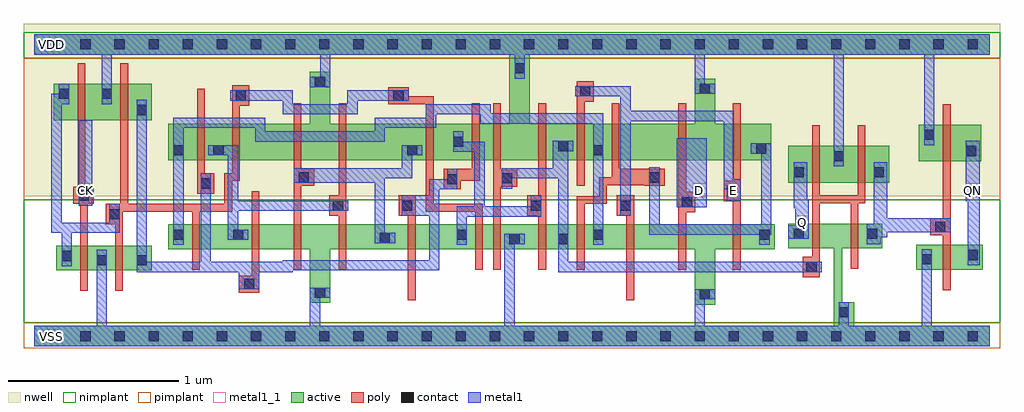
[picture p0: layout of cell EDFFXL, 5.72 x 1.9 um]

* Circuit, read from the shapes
.subckt EDFFXL CK D E Q QN VDD VSS
M1 VSS CK n1 VSS nfet w=0.145u l=0.045u
M2 n2 n1 VSS VSS nfet w=0.145u l=0.045u
M3 n3 n1 n4 VSS nfet w=0.145u l=0.045u
M4 n5 n2 n3 VSS nfet w=0.145u l=0.045u
M5 VSS n6 n5 VSS nfet w=0.145u l=0.045u
M6 n6 n3 VSS VSS nfet w=0.145u l=0.045u
M7 n7 n2 n6 VSS nfet w=0.145u l=0.045u
M8 n8 n1 n7 VSS nfet w=0.145u l=0.045u
M9 VSS n9 n8 VSS nfet w=0.145u l=0.045u
M10 n9 n7 VSS VSS nfet w=0.145u l=0.045u
M11 n4 n10 n9 VSS nfet w=0.145u l=0.045u
M12 n11 E n4 VSS nfet w=0.145u l=0.045u
M13 VSS D n11 VSS nfet w=0.145u l=0.045u
M14 n10 E VSS VSS nfet w=0.145u l=0.045u
M15 VSS n9 Q VSS nfet w=0.145u l=0.045u
M16 n12 n9 VSS VSS nfet w=0.145u l=0.045u
M17 QN n12 VSS VSS nfet w=0.145u l=0.045u
M18 VDD CK n1 VDD pfet w=0.215u l=0.045u
M19 n2 n1 VDD VDD pfet w=0.215u l=0.045u
M20 n3 n2 n4 VDD pfet w=0.215u l=0.045u
M21 n13 n1 n3 VDD pfet w=0.215u l=0.045u
M22 VDD n6 n13 VDD pfet w=0.215u l=0.045u
M23 n6 n3 VDD VDD pfet w=0.215u l=0.045u
M24 n7 n1 n6 VDD pfet w=0.215u l=0.045u
M25 n14 n2 n7 VDD pfet w=0.215u l=0.045u
M26 VDD n9 n14 VDD pfet w=0.215u l=0.045u
M27 n9 n7 VDD VDD pfet w=0.215u l=0.045u
M28 n4 E n9 VDD pfet w=0.215u l=0.045u
M29 n15 n10 n4 VDD pfet w=0.215u l=0.045u
M30 VDD D n15 VDD pfet w=0.215u l=0.045u
M31 n10 E VDD VDD pfet w=0.215u l=0.045u
M32 VDD n9 Q VDD pfet w=0.215u l=0.045u
M33 n12 n9 VDD VDD pfet w=0.215u l=0.045u
M34 QN n12 VDD VDD pfet w=0.215u l=0.045u
.ends

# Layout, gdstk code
import gdstk
lib = gdstk.Library(unit=1e-6, precision=5e-10)
def R(c, l, rs):  # rectangles x0, y0, x1, y1
    for r in rs: c.add(gdstk.rectangle(r[:2], r[2:], *l))
def A(c, l, x, y, w, h, nx, ny, dx, dy):  # array of equal rectangles
    R(c, l, [(x+i*dx, y+j*dy, x+i*dx+w, y+j*dy+h) for i in range(nx) for j in range(ny)])
def P(c, l, *ps):  # polygons
    for p in ps: c.add(gdstk.Polygon(p, *l))
active = (1, 0)
nwell = (2, 0)
poly = (3, 0)
nimplant = (4, 0)
pimplant = (5, 0)
contact = (6, 0)
metal1 = (7, 0)
metal1_1 = (7, 1)

edffxl = lib.new_cell('EDFFXL')
R(edffxl, active, [(0.13,0.385,0.69,0.53), (5.17,0.39,5.56,0.535), (4.42,0.9,5.01,1.115), (5.185,1.025,5.55,1.24), (0.115,1.265,0.69,1.48)])
P(edffxl, active, [(0,1.77),(5.6,1.77),(5.6,1.65),(2.905,1.65),(2.905,1.245),(3.87,1.245),(3.87,1.51),(3.99,1.51),(3.99,1.245),(4.32,1.245),(4.32,1.03),(0.785,1.03),(0.785,1.245),(1.615,1.245),(1.615,1.55),(1.735,1.55),(1.735,1.245),(2.785,1.245),(2.785,1.65),(0,1.65)],
  [(4.42,0.66),(4.97,0.66),(4.97,0.515),(4.735,0.515),(4.735,0.2),(4.805,0.2),(4.805,0.06),(5.6,0.06),(5.6,-0.06),(0,-0.06),(0,0.06),(4.685,0.06),(4.685,0.515),(4.42,0.515)],
  [(0.785,0.655),(4.34,0.655),(4.34,0.51),(3.99,0.51),(3.99,0.185),(3.87,0.185),(3.87,0.51),(1.735,0.51),(1.735,0.195),(1.615,0.195),(1.615,0.51),(0.785,0.51)])
R(edffxl, nwell, [(-0.06,0.82,5.66,1.83)])
P(edffxl, poly, [(0.505,1.6),(0.55,1.6),(0.55,0.775),(1.115,0.775),(1.115,0.955),(1.16,0.955),(1.16,1.47),(1.26,1.47),(1.26,1.35),(1.205,1.35),(1.205,0.91),(1.16,0.91),(1.16,0.73),(0.97,0.73),(0.97,0.39),(0.925,0.39),(0.925,0.73),(0.52,0.73),(0.52,0.265),(0.475,0.265),(0.475,0.655),(0.42,0.655),(0.42,0.775),(0.505,0.775)],
  [(0.255,1.6),(0.3,1.6),(0.3,0.875),(0.35,0.875),(0.35,0.775),(0.315,0.775),(0.315,0.265),(0.27,0.265),(0.27,0.775),(0.23,0.775),(0.23,0.875),(0.255,0.875)],
  [(2.075,1.46),(2.195,1.46),(2.195,1.405),(2.34,1.405),(2.34,0.775),(2.63,0.775),(2.63,0.39),(2.585,0.39),(2.585,0.73),(2.295,0.73),(2.295,1.36),(2.075,1.36)],
  [(0.955,1.45),(1,1.45),(1,0.955),(1.055,0.955),(1.055,0.835),(0.955,0.835)],
  [(1.52,1.365),(1.565,1.365),(1.565,0.98),(1.64,0.98),(1.64,0.88),(1.565,0.88),(1.565,0.39),(1.52,0.39)],
  [(1.785,1.365),(1.83,1.365),(1.83,0.39),(1.785,0.39),(1.785,0.705),(1.73,0.705),(1.73,0.825),(1.785,0.825)],
  [(2.565,1.365),(2.61,1.365),(2.61,0.91),(2.5,0.91),(2.5,0.86),(2.4,0.86),(2.4,0.98),(2.565,0.98)],
  [(2.69,1.365),(2.735,1.365),(2.735,0.975),(2.83,0.975),(2.83,0.875),(2.735,0.875),(2.735,0.39),(2.69,0.39)],
  [(3.18,1.495),(3.28,1.495),(3.28,1.375),(3.225,1.375),(3.225,0.88),(3.18,0.88)],
  [(5.325,1.36),(5.37,1.36),(5.37,0.27),(5.325,0.27),(5.325,0.59),(5.25,0.59),(5.25,0.69),(5.325,0.69)],
  [(2.955,1.365),(3,1.365),(3,0.39),(2.955,0.39),(2.955,0.705),(2.89,0.705),(2.89,0.825),(2.955,0.825)],
  [(3.385,1.365),(3.43,1.365),(3.43,0.98),(3.695,0.98),(3.695,0.88),(3.575,0.88),(3.575,0.885),(3.355,0.885),(3.355,0.775),(3.225,0.775),(3.225,0.39),(3.18,0.39),(3.18,0.82),(3.31,0.82),(3.31,0.93),(3.385,0.93)],
  [(3.775,1.365),(3.82,1.365),(3.82,0.845),(3.875,0.845),(3.875,0.725),(3.82,0.725),(3.82,0.39),(3.775,0.39)],
  [(4.095,1.365),(4.14,1.365),(4.14,0.39),(4.095,0.39),(4.095,0.79),(4.04,0.79),(4.04,0.91),(4.095,0.91)],
  [(4.56,1.235),(4.605,1.235),(4.605,0.825),(4.825,0.825),(4.825,1.235),(4.87,1.235),(4.87,0.78),(4.83,0.78),(4.83,0.395),(4.785,0.395),(4.785,0.78),(4.605,0.78),(4.605,0.345),(4.505,0.345),(4.505,0.465),(4.56,0.465)],
  [(2.135,0.825),(2.235,0.825),(2.235,0.21),(2.19,0.21),(2.19,0.705),(2.135,0.705)],
  [(3.415,0.825),(3.515,0.825),(3.515,0.21),(3.47,0.21),(3.47,0.705),(3.415,0.705)],
  [(1.275,0.85),(1.32,0.85),(1.32,0.255),(1.2,0.255),(1.2,0.355),(1.275,0.355)])
R(edffxl, nimplant, [(-0.06,0.08,5.66,0.8), (-0.06,1.63,5.66,1.78)])
R(edffxl, pimplant, [(-0.06,-0.07,5.66,0.08), (-0.06,0.8,5.66,1.63)])
A(edffxl, contact, 0.07, -0.03, 0.06, 0.06, 28, 2, 0.2, 1.71)
R(edffxl, contact, [(4.715,0.11,4.775,0.17), (3.9,0.215,3.96,0.275), (1.645,0.225,1.705,0.285), (1.23,0.275,1.29,0.335), (4.525,0.375,4.585,0.435), (0.365,0.415,0.425,0.475), (0.6,0.415,0.66,0.475), (5.2,0.42,5.26,0.48), (0.16,0.44,0.22,0.5), (5.47,0.445,5.53,0.505), (2.785,0.54,2.845,0.6), (3.07,0.54,3.13,0.6), (2.025,0.545,2.085,0.605), (0.815,0.565,0.875,0.625), (1.165,0.565,1.225,0.625), (2.475,0.565,2.535,0.625), (3.275,0.565,3.335,0.625), (4.25,0.565,4.31,0.625), (4.45,0.57,4.51,0.63), (4.88,0.57,4.94,0.63), (5.28,0.61,5.34,0.67), (0.44,0.685,0.5,0.745), (1.75,0.735,1.81,0.795), (2.155,0.735,2.215,0.795), (2.91,0.735,2.97,0.795), (3.435,0.735,3.495,0.795), (3.795,0.755,3.855,0.815), (0.26,0.795,0.32,0.855), (4.06,0.82,4.12,0.88), (0.975,0.865,1.035,0.925), (2.42,0.89,2.48,0.95), (2.74,0.895,2.8,0.955), (1.55,0.9,1.61,0.96), (3.605,0.9,3.665,0.96), (4.45,0.93,4.51,0.99), (4.92,0.93,4.98,0.99), (4.685,1.025,4.745,1.085), (5.46,1.055,5.52,1.115), (0.815,1.06,0.875,1.12), (1.05,1.06,1.11,1.12), (2.185,1.06,2.245,1.12), (3.275,1.06,3.335,1.12), (4.23,1.07,4.29,1.13), (3.07,1.085,3.13,1.145), (2.455,1.11,2.515,1.17), (5.215,1.15,5.275,1.21), (0.6,1.295,0.66,1.355), (1.18,1.38,1.24,1.44), (2.105,1.38,2.165,1.44), (0.145,1.39,0.205,1.45), (0.395,1.39,0.455,1.45), (3.2,1.405,3.26,1.465), (3.9,1.42,3.96,1.48), (1.645,1.46,1.705,1.52), (2.815,1.54,2.875,1.6)])
R(edffxl, metal1, [(3.765,0.755,3.94,1.16), (0.26,0.765,0.34,1.265)])
P(edffxl, metal1, [(0,1.77),(5.6,1.77),(5.6,1.65),(5.275,1.65),(5.275,1.12),(5.215,1.12),(5.215,1.65),(4.745,1.65),(4.745,0.995),(4.685,0.995),(4.685,1.65),(3.93,1.65),(3.93,1.48),(3.99,1.48),(3.99,1.42),(3.87,1.42),(3.87,1.65),(2.875,1.65),(2.875,1.51),(2.815,1.51),(2.815,1.65),(1.735,1.65),(1.735,1.46),(1.615,1.46),(1.615,1.52),(1.675,1.52),(1.675,1.65),(0.455,1.65),(0.455,1.36),(0.395,1.36),(0.395,1.65),(0,1.65)],
  [(0.145,1.48),(0.205,1.48),(0.205,1.36),(0.16,1.36),(0.16,0.665),(0.44,0.665),(0.44,0.775),(0.5,0.775),(0.5,0.605),(0.22,0.605),(0.22,0.41),(0.16,0.41),(0.16,0.605),(0.1,0.605),(0.1,1.42),(0.145,1.42)],
  [(1.15,1.44),(1.515,1.44),(1.515,1.36),(1.835,1.36),(1.835,1.44),(2.195,1.44),(2.195,1.38),(1.895,1.38),(1.895,1.3),(1.455,1.3),(1.455,1.38),(1.15,1.38)],
  [(2.295,1.36),(2.675,1.36),(2.675,1.305),(3.335,1.305),(3.335,0.535),(3.275,0.535),(3.275,1.245),(2.615,1.245),(2.615,1.3),(2.355,1.3),(2.355,1.22),(2.055,1.22),(2.055,1.14),(1.295,1.14),(1.295,1.22),(0.875,1.22),(0.875,0.535),(0.815,0.535),(0.815,1.28),(1.355,1.28),(1.355,1.2),(1.995,1.2),(1.995,1.28),(2.295,1.28)],
  [(0.6,1.385),(0.66,1.385),(0.66,0.435),(0.975,0.435),(0.975,0.955),(1.035,0.955),(1.035,0.435),(1.455,0.435),(1.455,0.445),(2.315,0.445),(2.315,0.705),(2.155,0.705),(2.155,0.825),(2.315,0.825),(2.315,0.92),(2.42,0.92),(2.42,0.98),(2.48,0.98),(2.48,0.86),(2.375,0.86),(2.375,0.385),(1.515,0.385),(1.515,0.375),(1.32,0.375),(1.32,0.275),(1.2,0.275),(1.2,0.375),(0.6,0.375)],
  [(2.755,0.6),(2.875,0.6),(2.875,0.54),(2.815,0.54),(2.815,0.06),(3.87,0.06),(3.87,0.275),(3.99,0.275),(3.99,0.215),(3.93,0.215),(3.93,0.06),(4.715,0.06),(4.715,0.2),(4.775,0.2),(4.775,0.06),(5.2,0.06),(5.2,0.51),(5.26,0.51),(5.26,0.06),(5.6,0.06),(5.6,-0.06),(0,-0.06),(0,0.06),(0.365,0.06),(0.365,0.505),(0.425,0.505),(0.425,0.06),(1.615,0.06),(1.615,0.285),(1.735,0.285),(1.735,0.225),(1.675,0.225),(1.675,0.06),(2.755,0.06)],
  [(1.02,1.12),(1.195,1.12),(1.195,0.795),(1.84,0.795),(1.84,0.735),(1.195,0.735),(1.195,0.625),(1.255,0.625),(1.255,0.565),(1.135,0.565),(1.135,1.06),(1.02,1.06)],
  [(3.17,1.465),(3.495,1.465),(3.495,1.32),(4.1,1.32),(4.1,0.92),(4.14,0.92),(4.14,0.79),(4.06,0.79),(4.06,0.86),(4.04,0.86),(4.04,1.26),(3.495,1.26),(3.495,0.705),(3.435,0.705),(3.435,1.405),(3.17,1.405)],
  [(2.455,1.2),(2.515,1.2),(2.515,1.14),(2.64,1.14),(2.64,0.76),(2.91,0.76),(2.91,0.825),(2.97,0.825),(2.97,0.7),(2.535,0.7),(2.535,0.535),(2.475,0.535),(2.475,0.76),(2.58,0.76),(2.58,1.08),(2.455,1.08)],
  [(2.155,1.12),(2.275,1.12),(2.275,1.06),(2.215,1.06),(2.215,0.925),(2.055,0.925),(2.055,0.605),(2.115,0.605),(2.115,0.545),(1.995,0.545),(1.995,0.9),(1.52,0.9),(1.52,0.985),(2.155,0.985)],
  [(3.04,1.145),(3.16,1.145),(3.16,1.085),(3.13,1.085),(3.13,0.435),(4.615,0.435),(4.615,0.375),(3.07,0.375),(3.07,0.925),(2.8,0.925),(2.8,0.865),(2.74,0.865),(2.74,0.985),(3.04,0.985)],
  [(5.46,1.145),(5.54,1.145),(5.54,0.415),(5.47,0.415),(5.47,0.79),(5.46,0.79)],
  [(4.2,1.13),(4.32,1.13),(4.32,0.595),(4.31,0.595),(4.31,0.535),(4.25,0.535),(4.25,0.595),(3.605,0.595),(3.605,0.99),(3.665,0.99),(3.665,0.655),(4.26,0.655),(4.26,1.07),(4.2,1.07)],
  [(4.45,1.02),(4.53,1.02),(4.53,0.8),(4.54,0.8),(4.54,0.57),(4.42,0.57),(4.42,0.65),(4.46,0.65),(4.46,0.75),(4.45,0.75)],
  [(4.92,1.02),(5,1.02),(5,0.69),(5.37,0.69),(5.37,0.61),(5,0.61),(5,0.58),(4.96,0.58),(4.96,0.54),(4.88,0.54),(4.88,0.66),(4.92,0.66)])
R(edffxl, metal1_1, [(0.06,-0.04,0.14,0.04), (4.46,0.625,4.54,0.705), (0.26,0.815,0.34,0.895), (3.86,0.815,3.94,0.895), (4.06,0.815,4.14,0.895), (5.46,0.815,5.54,0.895), (0.06,1.67,0.14,1.75)])
edffxl.add(gdstk.Label('QN', (5.5,0.855), layer=7, texttype=1))
edffxl.add(gdstk.Label('Q', (4.5,0.665), layer=7, texttype=1))
edffxl.add(gdstk.Label('E', (4.1,0.855), layer=7, texttype=1))
edffxl.add(gdstk.Label('D', (3.9,0.855), layer=7, texttype=1))
edffxl.add(gdstk.Label('CK', (0.3,0.855), layer=7, texttype=1))
edffxl.add(gdstk.Label('VDD', (0.1,1.71), layer=7, texttype=1))
edffxl.add(gdstk.Label('VSS', (0.1,0), layer=7, texttype=1))
edffxl.add(gdstk.Label('EDFFXL', (0,0), layer=63, texttype=0))

lib.write_gds('EDFFXL.gds')
